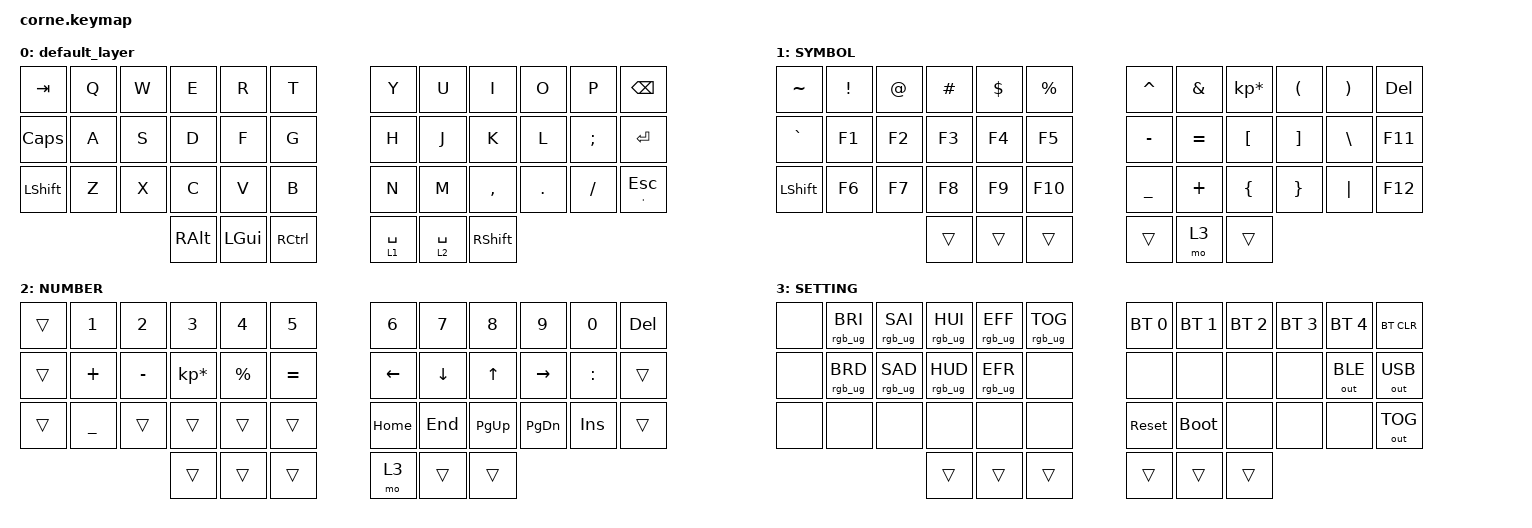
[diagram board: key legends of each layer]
/*
 * Copyright (c) 2020 The ZMK Contributors
 *
 * SPDX-License-Identifier: MIT
 */

#include <behaviors.dtsi>
#include <dt-bindings/zmk/keys.h>
#include <dt-bindings/zmk/rgb.h>
#include <dt-bindings/zmk/bt.h>
#include <dt-bindings/zmk/outputs.h>

#define DEFAULT 0
#define SYMBOL  1
#define NUMBER  2
#define SETTING 3

/ {
        keymap {
                compatible = "zmk,keymap";

                default_layer {
// -----------------------------------------------------------------------------------------
// |  TAB |  Q  |  W  |  E  |  R  |  T  |   |  Y  |  U   |  I  |  O  |  P  | BKSP |
// | CAPS |  A  |  S  |  D  |  F  |  G  |   |  H  |  J   |  K  |  L  |  ;  | ENT  |
// | SHFT |  Z  |  X  |  C  |  V  |  B  |   |  N  |  M   |  ,  |  .  |  /  | ESC(SQT)  |
//                    | GUI | LWR | SPC |   |SPACE|SPACE | ALT |
                        bindings = <
//   &kp TAB   &kp Q &kp W &kp E &kp R &kp T   &kp Y &kp U  &kp I     &kp O   &kp P    &kp BSPC
//   &kp LCTRL &kp A &kp S &kp D &kp F &kp G   &kp H &kp J  &kp K     &kp L   &kp SEMI &kp SQT
//   &kp LSHFT &kp Z &kp X &kp C &kp V &kp B   &kp N &kp M  &kp COMMA &kp DOT &kp FSLH &kp ESC
//                  &kp LGUI &mo 1 &kp SPACE   &kp RET &mo 2 &kp RALT

   &kp TAB   &kp Q &kp W &kp E &kp R &kp T   &kp Y &kp U  &kp I     &kp O   &kp P    &kp BSPC
   &kp CAPS  &kp A &kp S &kp D &kp F &kp G   &kp H &kp J  &kp K     &kp L   &kp SEMI &kp RET
   &kp LSHFT &kp Z &kp X &kp C &kp V &kp B   &kp N &kp M  &kp COMMA &kp DOT &kp FSLH &mt SQT ESC
                &kp RALT &kp LGUI &kp RCTRL   &lt 1 SPACE  &lt 2 SPACE  &kp RSHFT
                        >;
                };

        SYMBOL {
// -----------------------------------------------------------------------------------------
// |  ~   |  !  |  @  |  #  |  $  |  %  |        |  ^  |  &  |  *  |  (  |  )  | DEL |
// |  `   |  F1 |  F2 |  F3 | F4  |  F5 |        |  -  |  =  |  [  |  ]  |  \  | F11 |
// | SHFT |  F6 |  F7 |  F8 | F9  | F10 |        |  _  |  +  |  {  |  }  | "|" | F12 |
//                    |     | SET |     |        |      |      |      |
                        label = "SYMBOL";
                        bindings = <
   &kp TILDE &kp EXCL &kp AT &kp HASH &kp DLLR &kp PRCNT   &kp CARET &kp AMPS  &kp KP_MULTIPLY &kp LPAR &kp RPAR &kp DEL
   &kp GRAVE &kp F1  &kp F2  &kp F3  &kp F4   &kp F5       &kp MINUS &kp EQUAL &kp LBKT        &kp RBKT &kp BSLH &kp F11
   &kp LSHFT &kp F6  &kp F7  &kp F8  &kp F9  &kp F10       &kp UNDER &kp PLUS  &kp LBRC        &kp RBRC &kp PIPE &kp F12
                    	     &trans  &trans   &trans        &trans    &mo 3    &trans
                        >;
                };

        NUMBER {
            // -----------------------------------------------------------------------------------------
            // |     |  1  |  2  |  3  |  4  |  5  |   |  6   |  7   |  8   |  9   |  0   | DEL  |
            // |     |  +  |  -  |  *  |  %  |  =  |   | LEFT | DOWN |  UP  | RGT  |  :   |      |
            // |     |  _  |     |     |     |     |   | HOME | END  | PGUP | PGDN | INS  |      |
            //                   |     | SET |     |   |      |     |     |

            label = "NUMBER";
            bindings = <
   &trans   &kp N1   &kp N2    &kp N3          &kp N4    &kp N5       &kp N6    &kp N7     &kp N8     &kp N9      &kp N0  &kp DEL
   &trans   &kp PLUS &kp MINUS &kp KP_MULTIPLY &kp PRCNT &kp EQUAL    &kp LEFT  &kp DOWN   &kp UP     &kp RIGHT   &kp COLON  &trans
   &trans   &kp UNDER &trans   &trans          &trans    &trans                 &kp HOME   &kp END    &kp PG_UP  &kp PG_DN   &kp INS  &trans
                                    &trans  &trans   &trans            &mo 3    &trans     &trans
            >;
        };
        

        SETTING {
            // -----------------------------------------------------------------------------------------
            // | * | RGB BRI+ | RGB SAT+ | RGB HUE+ | RGB ANI+ | RGB TOG |     |  BT1  | BT2 | BT3 | BT4 | BT5 | BT CLR |
            // | * | RGB BRI- | RGB SAT- | RGB HUE- | RGB ANI- |         |     |       |     |     |     |     |        |
            // | * |          |          |          |          |         |     | RESET | bootloader    |     |     |     |        |
            //                                  |          | * |         |     |       |     |     |

            label = "SETTING";
            bindings = <
        &none &rgb_ug RGB_BRI &rgb_ug RGB_SAI &rgb_ug RGB_HUI &rgb_ug RGB_EFF &rgb_ug RGB_TOG    &bt BT_SEL 0  &bt BT_SEL 1  &bt BT_SEL 2  &bt BT_SEL 3  &bt BT_SEL 4    &bt BT_CLR
        &none &rgb_ug RGB_BRD &rgb_ug RGB_SAD &rgb_ug RGB_HUD &rgb_ug RGB_EFR &none              &none         &none         &none         &none  &out OUT_BLE  &out OUT_USB
        &none &none           &none           &none           &none           &none              &sys_reset    &bootloader         &none         &none         &none  &out OUT_TOG
                                              &trans          &trans          &trans             &trans        &trans        &trans
            >;
        };


//                lower_layer {
//// -----------------------------------------------------------------------------------------
//// |  TAB |  1  |  2  |  3  |  4  |  5  |   |  6  |  7  |  8  |  9  |  0  | BKSP |
//// | BTCLR| BT1 | BT2 | BT3 | BT4 | BT5 |   | LFT | DWN |  UP | RGT |     |      |
//// | SHFT |     |     |     |     |     |   |     |     |     |     |     |      |
////                    | GUI |     | SPC |   | ENT |     | ALT |
//                        bindings = <
//   &kp TAB    &kp N1       &kp N2       &kp N3       &kp N4       &kp N5         &kp N6   &kp N7   &kp N8 &kp N9    &kp N0 &kp BSPC
//   &bt BT_CLR &bt BT_SEL 0 &bt BT_SEL 1 &bt BT_SEL 2 &bt BT_SEL 3 &bt BT_SEL 4   &kp LEFT &kp DOWN &kp UP &kp RIGHT &trans &trans
//   &kp LSHFT  &trans       &trans       &trans       &trans       &trans         &trans   &trans   &trans &trans    &trans &trans
//                          	        &kp LGUI     &trans       &kp SPACE      &kp RET  &trans   &kp RALT
//                        >;
//                };




        };
};
